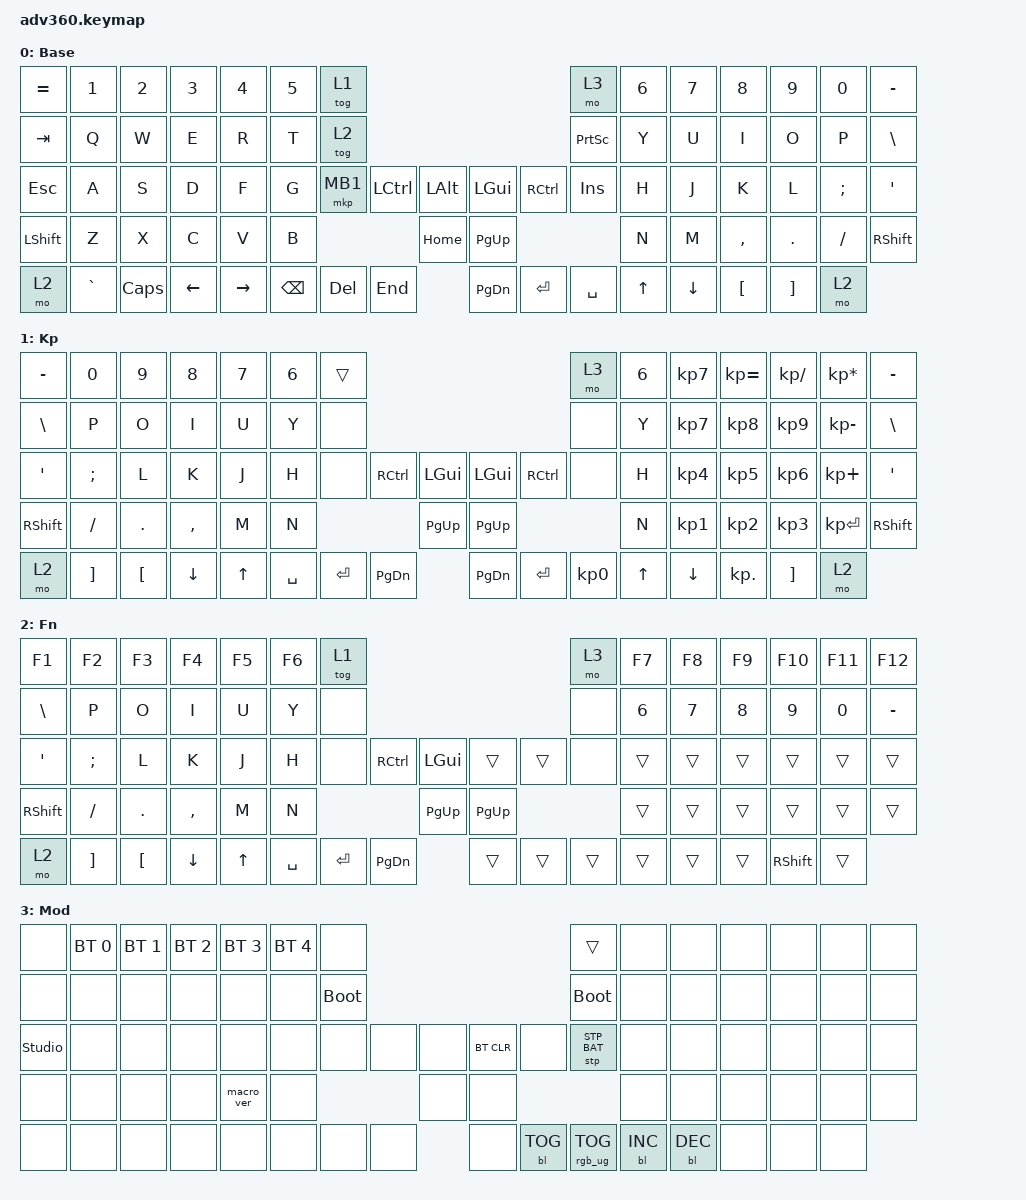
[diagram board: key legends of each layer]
#include <dt-bindings/zmk/stp.h>
#include <behaviors.dtsi>
#include <dt-bindings/zmk/backlight.h>
#include <dt-bindings/zmk/bt.h>
#include <dt-bindings/zmk/keys.h>
#include <dt-bindings/zmk/pointing.h>
#include <dt-bindings/zmk/rgb.h>

/ {
    behaviors {
        #include "macros.dtsi"
      #include "version.dtsi"

        hm: homerow_mods {
            compatible = "zmk,behavior-hold-tap";
            label = "HOMEROW_MODS";
            #binding-cells = <2>;
            tapping-term-ms = <200>;
            quick_tap_ms = <175>;
            flavor = "tap-preferred";
            bindings = <&kp>, <&kp>;
        };
    };

    combos {
        compatible = "zmk,combos";

        Toggle_fn_layer {
            bindings = <&tog 2>;
            key-positions = <35 38>;
        };
    };

    keymap {
        compatible = "zmk,keymap";

        default_layer {
            display-name = "Base";
            bindings = <
&kp EQUAL  &kp N1     &kp N2    &kp N3    &kp N4     &kp N5  &tog 1                                                   &mo 3      &kp N6  &kp N7  &kp N8     &kp N9    &kp N0    &kp MINUS
&kp TAB    &kp Q      &kp W     &kp E     &kp R      &kp T   &tog 2                                                   &kp PSCRN  &kp Y   &kp U   &kp I      &kp O     &kp P     &kp BSLH
&kp ESC    &kp A      &kp S     &kp D     &kp F      &kp G   &mkp MB1  &kp LCTRL  &kp LALT      &kp LGUI   &kp RCTRL  &kp INS    &kp H   &kp J   &kp K      &kp L     &kp SEMI  &kp SQT
&kp LSHFT  &kp Z      &kp X     &kp C     &kp V      &kp B                        &kp HOME      &kp PG_UP                        &kp N   &kp M   &kp COMMA  &kp DOT   &kp FSLH  &kp RSHFT
&mo 2      &kp GRAVE  &kp CAPS  &kp LEFT  &kp RIGHT          &kp BSPC  &kp DEL    &kp END       &kp PG_DN  &kp ENTER  &kp SPACE  &kp UP  &kp DOWN   &kp LBKT  &kp RBKT  &mo 2
            >;
        };

        keypad {
            display-name = "Kp";
            bindings = <
&kp MINUS  &kp N0     &kp N9    &kp N8    &kp N7     &kp N6  &trans                                                   &mo 3      &kp N6  &kp KP_N7  &kp KP_EQUAL  &kp KP_DIVIDE  &kp KP_MULTIPLY  &kp MINUS
&kp BSLH   &kp P      &kp O     &kp I     &kp U      &kp Y   &none                                                    &none      &kp Y   &kp KP_N7  &kp KP_N8     &kp KP_N9      &kp KP_MINUS     &kp BSLH
&kp SQT    &kp SEMI   &kp L     &kp K     &kp J      &kp H   &none     &kp RCTRL  &kp LGUI      &kp LGUI   &kp RCTRL  &none      &kp H   &kp KP_N4  &kp KP_N5     &kp KP_N6      &kp KP_PLUS      &kp SQT
&kp RSHFT  &kp FSLH   &kp DOT   &kp COMMA &kp M      &kp N                        &kp PG_UP     &kp PG_UP                        &kp N   &kp KP_N1  &kp KP_N2     &kp KP_N3      &kp KP_ENTER     &kp RSHFT
&mo 2      &kp RBKT   &kp LBKT  &kp DOWN  &kp UP             &kp SPACE &kp ENTER  &kp PG_DN     &kp PG_DN  &kp ENTER  &kp KP_N0          &kp UP     &kp DOWN      &kp KP_DOT     &kp RBKT         &mo 2
            >;
        };

        fn {
            display-name = "Fn";
            bindings = <
&kp F1     &kp F2     &kp F3    &kp F4    &kp F5     &kp F6  &tog 1                                                &mo 3   &kp F7  &kp F8  &kp F9  &kp F10  &kp F11      &kp F12
&kp BSLH   &kp P      &kp O     &kp I     &kp U      &kp Y   &none                                                 &none   &kp N6  &kp N7  &kp N8  &kp N9   &kp N0       &kp MINUS
&kp SQT    &kp SEMI   &kp L     &kp K     &kp J      &kp H   &none     &kp RCTRL  &kp LGUI       &trans    &trans  &none   &trans  &trans  &trans  &trans   &trans       &trans
&kp RSHFT  &kp FSLH   &kp DOT   &kp COMMA &kp M      &kp N                        &kp PG_UP      &kp PG_UP                 &trans  &trans  &trans  &trans   &trans       &trans
&mo 2      &kp RBKT   &kp LBKT  &kp DOWN  &kp UP             &kp SPACE &kp ENTER  &kp PG_DN      &trans    &trans  &trans          &trans  &trans  &trans   &kp RSHIFT   &trans
            >;
        };

        mod {
            display-name = "Mod";
            bindings = <
&none           &bt BT_SEL 0  &bt BT_SEL 1  &bt BT_SEL 2  &bt BT_SEL 3  &bt BT_SEL 4  &none                                                  &trans           &none  &none       &none       &none  &none  &none
&none           &none         &none         &none         &none         &none         &bootloader                                            &bootloader      &none  &none       &none       &none  &none  &none
&studio_unlock  &none         &none         &none         &none         &none         &none        &none  &none      &bt BT_CLR  &none       &stp STP_BAT     &none  &none       &none       &none  &none  &none
&none           &none         &none         &none         &macro_ver    &none                             &none      &none                                    &none  &none       &none       &none  &none  &none
&none           &none         &none         &none         &none                       &none        &none  &none      &none       &bl BL_TOG  &rgb_ug RGB_TOG         &bl BL_INC  &bl BL_DEC  &none  &none  &none
            >;
        };

        extra1 {
            display-name = "Red";
            status = "reserved";
        };

        extra2 {
            display-name = "Purple";
            status = "reserved";
        };

        extra3 {
            display-name = "Cyan";
            status = "reserved";
        };

        extra4 {
            display-name = "Yellow";
            status = "reserved";
        };
    };
};
